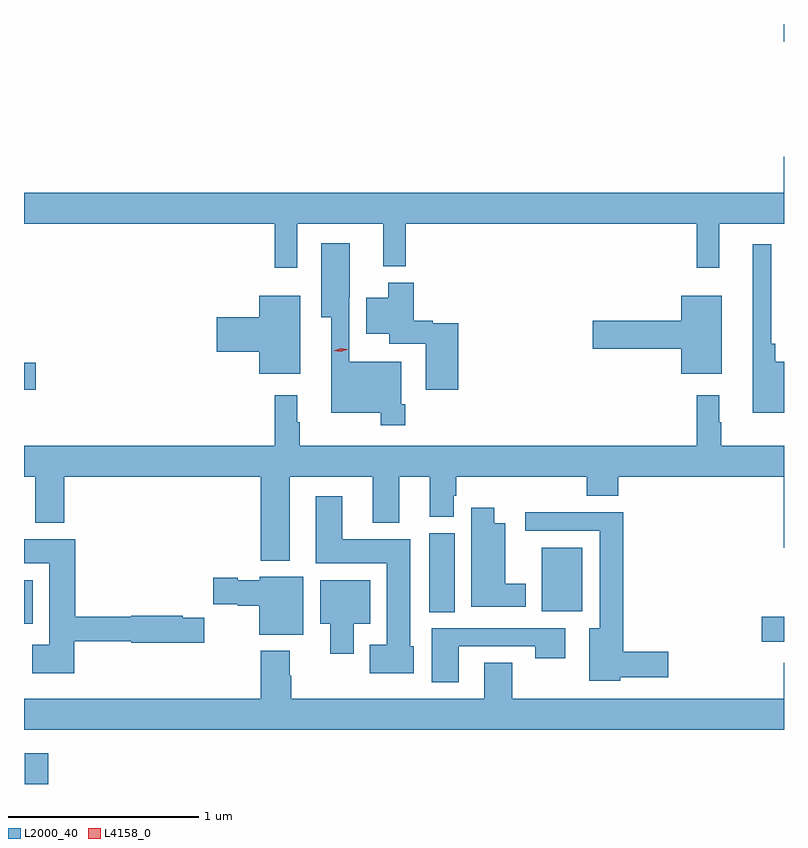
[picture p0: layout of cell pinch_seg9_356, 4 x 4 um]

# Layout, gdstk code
import gdstk
lib = gdstk.Library(unit=1e-6, precision=1e-09)
def R(c, l, rs):  # rectangles x0, y0, x1, y1
    for r in rs: c.add(gdstk.rectangle(r[:2], r[2:], *l))
def P(c, l, *ps):  # polygons
    for p in ps: c.add(gdstk.Polygon(p, *l))
L2000_40 = (2000, 40)
L4158_0 = (4158, 0)

pinch_seg9_356 = lib.new_cell('pinch_seg9_356')
R(pinch_seg9_356, L2000_40, [(580.595,1200.131,580.717,1200.292), (584.472,1200.881,584.59,1201.011), (580.59,1200.974,580.636,1201.204), (582.722,1201.036,582.856,1201.452), (583.316,1201.04,583.528,1201.375), (580.59,1202.206,580.651,1202.348), (584.588,1204.038,584.59,1204.131)])
P(pinch_seg9_356, L2000_40, [(582.027,1203.08),(582.482,1203.08),(582.482,1202.855),(582.599,1202.855),(582.599,1203.08),(584.131,1203.08),(584.131,1202.847),(584.249,1202.847),(584.249,1203.08),(584.59,1203.08),(584.59,1203.433),(584.588,1203.433),(584.588,1203.244),(580.59,1203.244),(580.59,1203.08),(581.911,1203.08),(581.911,1202.847),(582.027,1202.847)],
  [(582.596,1202.131),(582.576,1202.131),(582.576,1202.353),(582.303,1202.353),(582.303,1202.692),(582.304,1202.692),(582.304,1202.977),(582.155,1202.977),(582.155,1202.588),(582.206,1202.588),(582.206,1202.084),(582.468,1202.084),(582.468,1202.019),(582.596,1202.019)],
  [(584.59,1202.353),(584.543,1202.353),(584.543,1202.449),(584.523,1202.449),(584.523,1202.971),(584.426,1202.971),(584.426,1202.084),(584.59,1202.084)],
  [(582.875,1202.557),(582.741,1202.557),(582.741,1202.57),(582.641,1202.57),(582.641,1202.77),(582.506,1202.77),(582.506,1202.689),(582.392,1202.689),(582.392,1202.501),(582.512,1202.501),(582.512,1202.447),(582.704,1202.447),(582.704,1202.205),(582.875,1202.205)],
  [(584.263,1202.701),(584.048,1202.701),(584.048,1202.57),(583.584,1202.57),(583.584,1202.423),(584.048,1202.423),(584.048,1202.291),(584.263,1202.291)],
  [(582.043,1202.701),(581.828,1202.701),(581.828,1202.588),(581.604,1202.588),(581.604,1202.405),(581.828,1202.405),(581.828,1202.291),(582.043,1202.291)],
  [(582.04,1202.036),(582.028,1202.036),(582.028,1202.176),(581.911,1202.176),(581.911,1201.912),(580.59,1201.912),(580.59,1201.748),(580.649,1201.748),(580.649,1201.505),(580.802,1201.505),(580.802,1201.748),(581.837,1201.748),(581.837,1201.307),(581.989,1201.307),(581.989,1201.748),(582.425,1201.748),(582.425,1201.505),(582.565,1201.505),(582.565,1201.748),(582.725,1201.748),(582.725,1201.537),(582.853,1201.537),(582.853,1201.647),(582.866,1201.647),(582.866,1201.748),(583.553,1201.748),(583.553,1201.649),(583.718,1201.649),(583.718,1201.748),(584.588,1201.748),(584.588,1201.374),(584.59,1201.374),(584.59,1201.912),(584.26,1201.912),(584.26,1202.036),(584.248,1202.036),(584.248,1202.176),(584.131,1202.176),(584.131,1201.912),(582.04,1201.912)],
  [(582.64,1200.855),(582.622,1200.855),(582.622,1201.42),(582.265,1201.42),(582.265,1201.645),(582.125,1201.645),(582.125,1201.292),(582.5,1201.292),(582.5,1200.865),(582.41,1200.865),(582.41,1200.713),(582.64,1200.713)],
  [(583.231,1201.186),(583.123,1201.186),(583.123,1201.504),(583.066,1201.504),(583.066,1201.585),(582.944,1201.585),(582.944,1201.064),(583.231,1201.064)],
  [(583.728,1200.692),(583.981,1200.692),(583.981,1200.827),(583.745,1200.827),(583.745,1201.562),(583.227,1201.562),(583.227,1201.464),(583.619,1201.464),(583.619,1200.952),(583.565,1200.952),(583.565,1200.674),(583.728,1200.674)],
  [(580.854,1200.882),(581.154,1200.882),(581.154,1200.874),(581.539,1200.874),(581.539,1201.007),(581.426,1201.007),(581.426,1201.016),(581.154,1201.016),(581.154,1201.01),(580.859,1201.01),(580.859,1201.42),(580.59,1201.42),(580.59,1201.292),(580.724,1201.292),(580.724,1200.865),(580.634,1200.865),(580.634,1200.713),(580.854,1200.713)],
  [(582.061,1201.222),(581.832,1201.222),(581.832,1201.204),(581.715,1201.204),(581.715,1201.217),(581.586,1201.217),(581.586,1201.078),(581.715,1201.078),(581.715,1201.07),(581.828,1201.07),(581.828,1200.917),(582.061,1200.917)],
  [(582.325,1200.974),(582.412,1200.974),(582.412,1201.204),(582.149,1201.204),(582.149,1200.974),(582.203,1200.974),(582.203,1200.816),(582.325,1200.816)],
  [(582.877,1200.855),(583.282,1200.855),(583.282,1200.792),(583.438,1200.792),(583.438,1200.951),(582.737,1200.951),(582.737,1200.666),(582.877,1200.666)],
  [(584.59,1200.769),(584.588,1200.769),(584.588,1200.58),(583.161,1200.58),(583.161,1200.77),(583.013,1200.77),(583.013,1200.58),(581.997,1200.58),(581.997,1200.701),(581.989,1200.701),(581.989,1200.832),(581.837,1200.832),(581.837,1200.58),(580.59,1200.58),(580.59,1200.416),(584.59,1200.416)])
P(pinch_seg9_356, L4158_0, [(582.257,1202.405),(582.221,1202.412),(582.221,1202.412),(582.221,1202.412),(582.256,1202.425),(582.292,1202.418),(582.292,1202.417),(582.292,1202.417)])

lib.write_gds('pinch_seg9_356.gds')
